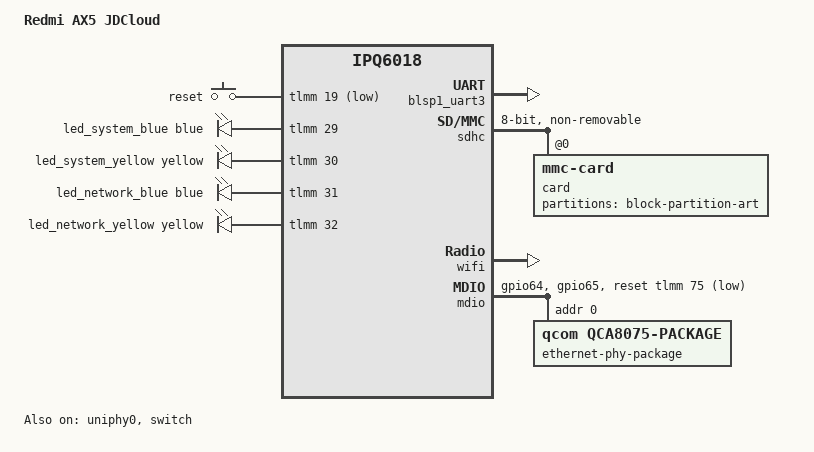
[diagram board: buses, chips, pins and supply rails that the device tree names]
// SPDX-License-Identifier: GPL-2.0-or-later OR MIT

/dts-v1/;

#include "ipq6018-512m.dtsi"
#include "ipq6018-ess.dtsi"

#include <dt-bindings/gpio/gpio.h>
#include <dt-bindings/input/input.h>
#include <dt-bindings/leds/common.h>

/ {
	model = "Redmi AX5 JDCloud";
	compatible = "redmi,ax5-jdcloud", "qcom,ipq6018";

	aliases {
		serial0 = &blsp1_uart3;

		led-boot = &led_system_yellow;
		led-failsafe = &led_system_blue;
		led-running = &led_system_blue;
		led-upgrade = &led_system_yellow;

		ethernet1 = &swport2;
		ethernet2 = &swport3;
		ethernet3 = &swport4;
		ethernet4 = &swport5;

		label-mac-device = &swport2;
	};

	chosen {
		stdout-path = "serial0:115200n8";
	};

	keys {
		compatible = "gpio-keys";

		reset {
			label = "reset";
			linux,code = <KEY_RESTART>;
			gpios = <&tlmm 19 GPIO_ACTIVE_LOW>;
		};
	};

	leds {
		compatible = "gpio-leds";

		led_system_blue: system-blue {
			color = <LED_COLOR_ID_BLUE>;
			function = LED_FUNCTION_STATUS;
			gpios = <&tlmm 29 GPIO_ACTIVE_HIGH>;
		};

		led_system_yellow: system-yellow {
			color = <LED_COLOR_ID_YELLOW>;
			function = LED_FUNCTION_STATUS;
			gpios = <&tlmm 30 GPIO_ACTIVE_HIGH>;
		};

		led_network_blue: network-blue {
			color = <LED_COLOR_ID_BLUE>;
			function = "network";
			gpios = <&tlmm 31 GPIO_ACTIVE_HIGH>;
		};

		led_network_yellow: network-yellow {
			color = <LED_COLOR_ID_YELLOW>;
			function = "network";
			gpios = <&tlmm 32 GPIO_ACTIVE_HIGH>;
		};
	};
};

&tlmm {
	mdio_pins: mdio-pins {
		mdc {
			pins = "gpio64";
			function = "mdc";
			drive-strength = <8>;
			bias-pull-up;
		};

		mdio {
			pins = "gpio65";
			function = "mdio";
			drive-strength = <8>;
			bias-pull-up;
		};
	};
};

&blsp1_uart3 {
	status = "okay";
	pinctrl-0 = <&serial_3_pins>;
	pinctrl-names = "default";
};

&sdhc {
	#address-cells = <1>;
	#size-cells = <0>;
	bus-width = <8>;
	mmc-ddr-1_8v;
	mmc-hs200-1_8v;
	non-removable;
	status = "okay";

	card@0 {
		compatible = "mmc-card";
		reg = <0>;

		partitions {
			compatible = "gpt-partitions";

			block-partition-art {
				partname = "0:ART";

				nvmem-layout {
					compatible = "fixed-layout";
					#address-cells = <1>;
					#size-cells = <1>;

					lanaddr: macaddr@6 {
						reg = <0x6 0x6>;
					};

					wanaddr: macaddr@18 {
						reg = <0x18 0x6>;
					};

					caldata: caldata@1000 {
						reg = <0x1000 0x10000>;
					};
				};
			};
		};
	};
};

&wifi {
	status = "okay";
	qcom,ath11k-fw-memory-mode = <1>;
	qcom,ath11k-calibration-variant = "Redmi-AX5-JDCloud";
	nvmem-cells = <&caldata>;
	nvmem-cell-names = "calibration";
};

&mdio {
	status = "okay";

	pinctrl-0 = <&mdio_pins>;
	pinctrl-names = "default";
	reset-gpios = <&tlmm 75 GPIO_ACTIVE_LOW>;

	ethernet-phy-package@0 {
		compatible = "qcom,qca8075-package";
		qcom,package-mode = "psgmii";
		#address-cells = <1>;
		#size-cells = <0>;
		reg = <0>;

		qca8075_1: ethernet-phy@1 {
			compatible = "ethernet-phy-ieee802.3-c22";
			reg = <1>;
		};

		qca8075_2: ethernet-phy@2 {
			compatible = "ethernet-phy-ieee802.3-c22";
			reg = <2>;
		};

		qca8075_3: ethernet-phy@3 {
			compatible = "ethernet-phy-ieee802.3-c22";
			reg = <3>;
		};

		qca8075_4: ethernet-phy@4 {
			compatible = "ethernet-phy-ieee802.3-c22";
			reg = <4>;
		};
	};
};

&uniphy0 {
	status = "okay";
};

&switch {
	status = "okay";

	ports {
		#address-cells = <1>;
		#size-cells = <0>;

		port@0 {
			reg = <0>;
			ethernet = <&edma>;
			phy-mode = "internal";

			fixed-link {
				speed = <1000>;
				full-duplex;
			};
		};

		swport2: port@2 {
			reg = <2>;
			label = "lan1";
			phy-handle = <&qca8075_1>;
			phy-mode = "psgmii";
			pcs-handle = <&uniphy0 1>;
			nvmem-cells = <&lanaddr>;
			nvmem-cell-names = "mac-address";
		};

		swport3: port@3 {
			reg = <3>;
			label = "lan2";
			phy-handle = <&qca8075_2>;
			phy-mode = "psgmii";
			pcs-handle = <&uniphy0 2>;
			nvmem-cells = <&lanaddr>;
			nvmem-cell-names = "mac-address";
		};

		swport4: port@4 {
			reg = <4>;
			label = "lan3";
			phy-handle = <&qca8075_3>;
			phy-mode = "psgmii";
			pcs-handle = <&uniphy0 3>;
			nvmem-cells = <&lanaddr>;
			nvmem-cell-names = "mac-address";
		};

		swport5: port@5 {
			reg = <5>;
			label = "wan";
			phy-handle = <&qca8075_4>;
			phy-mode = "psgmii";
			pcs-handle = <&uniphy0 4>;
			nvmem-cells = <&wanaddr>;
			nvmem-cell-names = "mac-address";
		};
	};
};

&edma {
	status = "okay";
};
